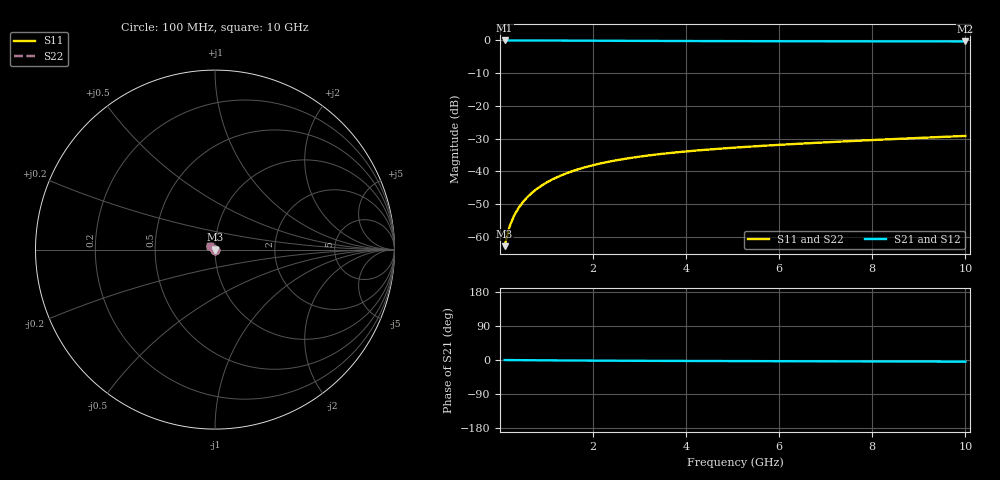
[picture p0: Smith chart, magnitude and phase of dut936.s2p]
! Touchstone file exported from HFSS 2024.1.0
!  File:  C:/UserFiles/LocalFiles/RDL_TSV_Batchsim/temp_TSV1_936_1779947676.aedt
!  Generated:  01:59:15 PM May 28, 2026
!  Design:  TSV1
!  Project:  temp_TSV1_936_1779947676
!  Setup:  Setup1
!  Solution:  Sweep
! Variables:
!  dtsv = 7.91um
!  hbump = 3um
!  htsv = 62.63um
!  lrdl = 252.1521522um
!  p = 40
!  p1 = 57.02um
!  t = 500um
!  trdl = 3um
!  wrdl = 24.89489489um
# GHz S MA R 50.000000
! Terminal data exported
! Port[1] = TSV22_T1
! Port[2] = TSV22_T2
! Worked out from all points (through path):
!   100 points, 100 MHz to 10 GHz, reference 50 ohm
!   highest |S21| = 0.00 dB at 100 MHz (marker M1); lowest = -0.3 dB at 10 GHz (marker M2)
!   lowest |S11| = -62.8 dB at 100 MHz (marker M3), VSWR 1.00, Z = 50 - j0.0702 ohm
!   |S11| at or under -10 dB: start of sweep to end of sweep
!   |S22| runs from -62.8 to -29.2 dB; largest |S21 - S12| = 4.1e-15
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0.1  0.0007224 -76.3  0.9998 -0.1  0.9998 -0.1  0.0007224 -76.3
! Gamma 0 0 0 0
! Port Impedance 50 0 50 0
0.2  0.001402 -86.5  0.9997 -0.2  0.9997 -0.2  0.001402 -86.5
0.3  0.002088 -91.6  0.9995 -0.3  0.9995 -0.3  0.002088 -91.6
0.4  0.002773 -95.3  0.9993 -0.4  0.9993 -0.4  0.002773 -95.3
0.5  0.003455 -98.4  0.999 -0.5  0.999 -0.5  0.003455 -98.4
0.6  0.00413 -101.2  0.9987 -0.6  0.9987 -0.6  0.00413 -101.2
0.7  0.004799 -103.9  0.9984 -0.7  0.9984 -0.7  0.004799 -103.9
0.8  0.00546 -106.4  0.9979 -0.7  0.9979 -0.7  0.00546 -106.4
0.9  0.006112 -108.9  0.9975 -0.8  0.9975 -0.8  0.006112 -108.9
1.1  0.007383 -113.5  0.9965 -1.0  0.9965 -1.0  0.007383 -113.5
1.4  0.009198 -120.2  0.9948 -1.2  0.9948 -1.2  0.009198 -120.2
1.6  0.01034 -124.3  0.9936 -1.4  0.9936 -1.4  0.01034 -124.3
1.8  0.01143 -128.4  0.9923 -1.5  0.9923 -1.5  0.01143 -128.4
2.1  0.01295 -134.1  0.9904 -1.7  0.9904 -1.7  0.01295 -134.1
2.5  0.01479 -141.2  0.9878 -1.9  0.9878 -1.9  0.01479 -141.2
2.9  0.01644 -147.8  0.9854 -2.1  0.9854 -2.1  0.01644 -147.8
3.4  0.01827 -155.3  0.9826 -2.3  0.9826 -2.3  0.01827 -155.3
4.2  0.02079 -165.9  0.9788 -2.6  0.9788 -2.6  0.02079 -165.9
5.1  0.02324 -176.0  0.9755 -2.9  0.9755 -2.9  0.02324 -176.0
6.7  0.02711 169.5  0.9715 -3.4  0.9715 -3.4  0.02712 169.5
8.4  0.03106 157.6  0.9687 -3.9  0.9687 -3.9  0.03106 157.6
10  0.03486 148.7  0.9668 -4.4  0.9668 -4.4  0.03486 148.7
